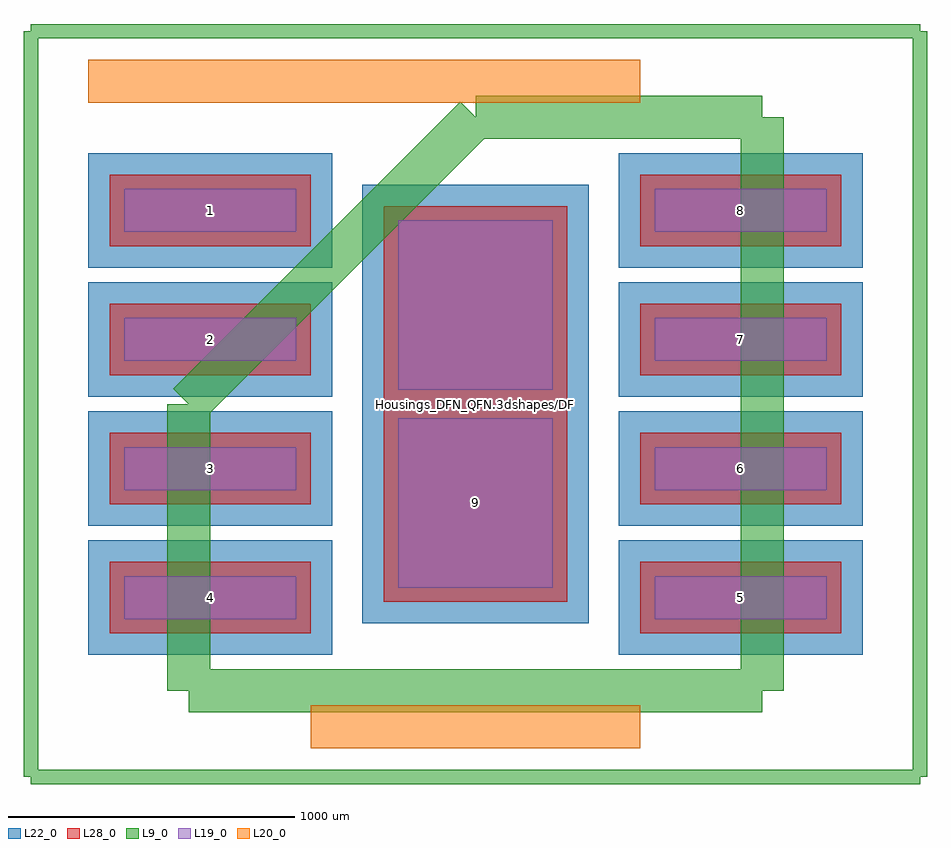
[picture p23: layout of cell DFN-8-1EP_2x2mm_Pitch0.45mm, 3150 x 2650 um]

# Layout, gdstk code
import gdstk
lib = gdstk.Library(unit=1e-6, precision=1e-09)
def R(c, l, rs):  # rectangles x0, y0, x1, y1
    for r in rs: c.add(gdstk.rectangle(r[:2], r[2:], *l))
def A(c, l, x, y, w, h, nx, ny, dx, dy):  # array of equal rectangles
    R(c, l, [(x+i*dx, y+j*dy, x+i*dx+w, y+j*dy+h) for i in range(nx) for j in range(ny)])
L9_0 = (9, 0)
L19_0 = (19, 0)
L20_0 = (20, 0)
L22_0 = (22, 0)
L28_0 = (28, 0)

dfn_8_1ep_2x2mm_pitch0_4 = lib.new_cell('DFN-8-1EP_2x2mm_Pitch0.45mm')
A(dfn_8_1ep_2x2mm_pitch0_4, L19_0, -1225, -750, 600, 150, 1, 4, 0, 450)
A(dfn_8_1ep_2x2mm_pitch0_4, L19_0, 625, -750, 600, 150, 1, 4, 0, 450)
R(dfn_8_1ep_2x2mm_pitch0_4, L19_0, [(-270,-640,270,-50), (-270,50,270,640)])
A(dfn_8_1ep_2x2mm_pitch0_4, L22_0, -1350, -875, 850, 400, 1, 4, 0, 450)
A(dfn_8_1ep_2x2mm_pitch0_4, L22_0, 500, -875, 850, 400, 1, 4, 0, 450)
R(dfn_8_1ep_2x2mm_pitch0_4, L22_0, [(-395,-765,395,75), (-395,-75,395,765)])
A(dfn_8_1ep_2x2mm_pitch0_4, L28_0, -1275, -800, 700, 250, 1, 4, 0, 450)
A(dfn_8_1ep_2x2mm_pitch0_4, L28_0, 575, -800, 700, 250, 1, 4, 0, 450)
R(dfn_8_1ep_2x2mm_pitch0_4, L28_0, [(-320,-690,320,0), (-320,0,320,690)])
dfn_8_1ep_2x2mm_pitch0_4.add(gdstk.FlexPath([(-1350,1125),(575,1125)], 149.998, ends="flush", simple_path=True, layer=20, datatype=0))  # L20_0
dfn_8_1ep_2x2mm_pitch0_4.add(gdstk.FlexPath([(-575,-1125),(575,-1125)], 149.998, ends="flush", simple_path=True, layer=20, datatype=0))  # L20_0
dfn_8_1ep_2x2mm_pitch0_4.add(gdstk.FlexPath([(-1550,-1300),(1550,-1300)], 50, ends="flush", simple_path=True, layer=9, datatype=0))  # L9_0
dfn_8_1ep_2x2mm_pitch0_4.add(gdstk.FlexPath([(-1550,1300),(1550,1300)], 50, ends="flush", simple_path=True, layer=9, datatype=0))  # L9_0
dfn_8_1ep_2x2mm_pitch0_4.add(gdstk.FlexPath([(1550,1300),(1550,-1300)], 50, ends="flush", simple_path=True, layer=9, datatype=0))  # L9_0
dfn_8_1ep_2x2mm_pitch0_4.add(gdstk.FlexPath([(-1550,1300),(-1550,-1300)], 50, ends="flush", simple_path=True, layer=9, datatype=0))  # L9_0
dfn_8_1ep_2x2mm_pitch0_4.add(gdstk.FlexPath([(-1000,0),(0,1000)], 149.998, ends="flush", simple_path=True, layer=9, datatype=0))  # L9_0
dfn_8_1ep_2x2mm_pitch0_4.add(gdstk.FlexPath([(-1000,-1000),(-1000,0)], 149.998, ends="flush", simple_path=True, layer=9, datatype=0))  # L9_0
dfn_8_1ep_2x2mm_pitch0_4.add(gdstk.FlexPath([(1000,-1000),(-1000,-1000)], 149.998, ends="flush", simple_path=True, layer=9, datatype=0))  # L9_0
dfn_8_1ep_2x2mm_pitch0_4.add(gdstk.FlexPath([(1000,1000),(1000,-1000)], 149.998, ends="flush", simple_path=True, layer=9, datatype=0))  # L9_0
dfn_8_1ep_2x2mm_pitch0_4.add(gdstk.FlexPath([(0,1000),(1000,1000)], 149.998, ends="flush", simple_path=True, layer=9, datatype=0))  # L9_0
dfn_8_1ep_2x2mm_pitch0_4.add(gdstk.Label('Housings_DFN_QFN.3dshapes/DFN-8-1EP_2x2mm_Pitch0.45mm.wrl', (0,0), layer=12, texttype=0))
dfn_8_1ep_2x2mm_pitch0_4.add(gdstk.Label('9', (0,-345), layer=28, texttype=0))
dfn_8_1ep_2x2mm_pitch0_4.add(gdstk.Label('8', (925,675), layer=28, texttype=0))
dfn_8_1ep_2x2mm_pitch0_4.add(gdstk.Label('7', (925,225), layer=28, texttype=0))
dfn_8_1ep_2x2mm_pitch0_4.add(gdstk.Label('6', (925,-225), layer=28, texttype=0))
dfn_8_1ep_2x2mm_pitch0_4.add(gdstk.Label('5', (925,-675), layer=28, texttype=0))
dfn_8_1ep_2x2mm_pitch0_4.add(gdstk.Label('4', (-925,-675), layer=28, texttype=0))
dfn_8_1ep_2x2mm_pitch0_4.add(gdstk.Label('3', (-925,-225), layer=28, texttype=0))
dfn_8_1ep_2x2mm_pitch0_4.add(gdstk.Label('2', (-925,225), layer=28, texttype=0))
dfn_8_1ep_2x2mm_pitch0_4.add(gdstk.Label('1', (-925,675), layer=28, texttype=0))
dfn_8_1ep_2x2mm_pitch0_4.add(gdstk.Label('type', (0,-2050), layer=9, texttype=0))
dfn_8_1ep_2x2mm_pitch0_4.add(gdstk.Label('devicename', (0,2050), layer=9, texttype=0))

lib.write_gds('DFN-8-1EP_2x2mm_Pitch0.45mm.gds')
